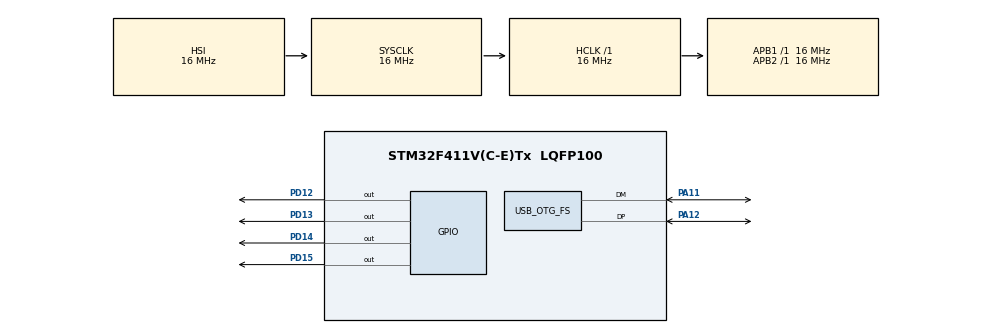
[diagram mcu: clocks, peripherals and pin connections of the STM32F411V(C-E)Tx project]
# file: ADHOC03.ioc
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FREERTOS.Tasks01=defaultTask,0,128,StartDefaultTask,Default,NULL
Mcu.Family=STM32F4
Mcu.Name=STM32F411V(C-E)Tx
Mcu.Package=LQFP100
NVIC.OTG_FS_IRQn=true\:5\:0\:false\:false\:true\:true\:false
NVIC.PriorityGroup=NVIC_PRIORITYGROUP_4
NVIC.TIM1_UP_TIM10_IRQn=true\:0\:0\:false\:false\:true\:false\:false
NVIC.TimeBase=TIM1_UP_TIM10_IRQn
NVIC.TimeBaseIP=TIM10
PA11.Mode=Device_Only
PA11.Signal=USB_OTG_FS_DM
PA12.Mode=Device_Only
PA12.Signal=USB_OTG_FS_DP
PA13.Mode=Serial_Wire
PA13.Signal=SYS_JTMS-SWDIO
PA14.Mode=Serial_Wire
PA14.Signal=SYS_JTCK-SWCLK
PC14-OSC32_IN.Mode=LSE-External-Clock-Source
PC14-OSC32_IN.Signal=RCC_OSC32_IN
PC15-OSC32_OUT.Mode=LSE-External-Clock-Source
PC15-OSC32_OUT.Signal=RCC_OSC32_OUT
PD12.Signal=GPIO_Output
PD13.Signal=GPIO_Output
PD14.Signal=GPIO_Output
PD15.Signal=GPIO_Output
PH0\ -\ OSC_IN.Mode=HSE-External-Oscillator
PH0\ -\ OSC_IN.Signal=RCC_OSC_IN
PH1\ -\ OSC_OUT.Mode=HSE-External-Oscillator
PH1\ -\ OSC_OUT.Signal=RCC_OSC_OUT
ProjectManager.HeapSize=0x200
ProjectManager.StackSize=0x400
ProjectManager.TargetToolchain=TrueSTUDIO
RCC.48MHZClocksFreq_Value=48000000
RCC.AHBFreq_Value=16000000
RCC.APB1Freq_Value=16000000
RCC.APB2Freq_Value=16000000
RCC.CortexFreq_Value=16000000
RCC.HSE_VALUE=8000000
RCC.HSI_VALUE=16000000
RCC.LSE_VALUE=32768
RCC.PLLM=4
RCC.PLLN=72
RCC.PLLQ=3
RCC.SYSCLKFreq_VALUE=16000000
RCC.VCOOutputFreq_Value=144000000
USB_DEVICE.CLASS_NAME_FS=CDC
USB_DEVICE.VirtualMode=Cdc
USB_DEVICE.VirtualModeFS=Cdc_FS
USB_OTG_FS.VirtualMode=Device_Only
VP_FREERTOS_VS_ENABLE.Mode=Enabled
VP_SYS_VS_tim10.Mode=TIM10
VP_USB_DEVICE_VS_USB_DEVICE_CDC_FS.Mode=CDC_FS
board=custom

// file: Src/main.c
/**
  ******************************************************************************
  * @file           : main.c
  * @brief          : Main program body
  ******************************************************************************
  * This notice applies to any and all portions of this file
  * that are not between comment pairs USER CODE BEGIN and
  * USER CODE END. Other portions of this file, whether
  * inserted by the user or by software development tools
  * are owned by their respective copyright owners.
  *
  * Copyright (c) 2018 STMicroelectronics International N.V.
  * All rights reserved.
  *
  * Redistribution and use in source and binary forms, with or without
  * modification, are permitted, provided that the following conditions are met:
  *
  * 1. Redistribution of source code must retain the above copyright notice,
  *    this list of conditions and the following disclaimer.
  * 2. Redistributions in binary form must reproduce the above copyright notice,
  *    this list of conditions and the following disclaimer in the documentation
  *    and/or other materials provided with the distribution.
  * 3. Neither the name of STMicroelectronics nor the names of other
  *    contributors to this software may be used to endorse or promote products
  *    derived from this software without specific written permission.
  * 4. This software, including modifications and/or derivative works of this
  *    software, must execute solely and exclusively on microcontroller or
  *    microprocessor devices manufactured by or for STMicroelectronics.
  * 5. Redistribution and use of this software other than as permitted under
  *    this license is void and will automatically terminate your rights under
  *    this license.
  *
  * THIS SOFTWARE IS PROVIDED BY STMICROELECTRONICS AND CONTRIBUTORS "AS IS"
  * AND ANY EXPRESS, IMPLIED OR STATUTORY WARRANTIES, INCLUDING, BUT NOT
  * LIMITED TO, THE IMPLIED WARRANTIES OF MERCHANTABILITY, FITNESS FOR A
  * PARTICULAR PURPOSE AND NON-INFRINGEMENT OF THIRD PARTY INTELLECTUAL PROPERTY
  * RIGHTS ARE DISCLAIMED TO THE FULLEST EXTENT PERMITTED BY LAW. IN NO EVENT
  * SHALL STMICROELECTRONICS OR CONTRIBUTORS BE LIABLE FOR ANY DIRECT, INDIRECT,
  * INCIDENTAL, SPECIAL, EXEMPLARY, OR CONSEQUENTIAL DAMAGES (INCLUDING, BUT NOT
  * LIMITED TO, PROCUREMENT OF SUBSTITUTE GOODS OR SERVICES; LOSS OF USE, DATA,
  * OR PROFITS; OR BUSINESS INTERRUPTION) HOWEVER CAUSED AND ON ANY THEORY OF
  * LIABILITY, WHETHER IN CONTRACT, STRICT LIABILITY, OR TORT (INCLUDING
  * NEGLIGENCE OR OTHERWISE) ARISING IN ANY WAY OUT OF THE USE OF THIS SOFTWARE,
  * EVEN IF ADVISED OF THE POSSIBILITY OF SUCH DAMAGE.
  *
  ******************************************************************************
  */
#include "main.h"
#include "stm32f4xx_hal.h"
#include "cmsis_os.h"
#include "usb_device.h"

/* USER CODE BEGIN Includes */
#include "FreeRTOS_IP.h"
#include "FreeRTOS_Sockets.h"
/* USER CODE END Includes */

osThreadId defaultTaskHandle;

/* USER CODE BEGIN PV */
/* Private variables ---------------------------------------------------------*/
#define mainHOST_NAME					"RTOSDemo"
#define mainDEVICE_NICK_NAME			"stm32"
#define NUM_LEDS	4

static TaskHandle_t xServerWorkTaskHandle = NULL;
static void prvServerWorkTask( void *pvParameters );
static void prvServerConnectionInstance( void *pvParameters );

#define FREERTOS_NO_SOCKET		NULL

#define ipconfigHTTP_TX_BUFSIZE				( 3 * ipconfigTCP_MSS )
#define ipconfigHTTP_TX_WINSIZE				( 2 )
#define ipconfigHTTP_RX_BUFSIZE				( 4 * ipconfigTCP_MSS )
#define ipconfigHTTP_RX_WINSIZE				( 4 )

/* FTP and HTTP servers execute in the TCP server work task. */
#define mainTCP_SERVER_TASK_PRIORITY	( tskIDLE_PRIORITY + 3 )
#define	mainTCP_SERVER_STACK_SIZE		( configMINIMAL_STACK_SIZE * 8 )

#ifndef configIPINIT_TASK_STACK_SIZE
	#define configIPINIT_TASK_STACK_SIZE ( 4 * configMINIMAL_STACK_SIZE )
#endif
/* The MAC address array is not declared const as the MAC address will
normally be read from an EEPROM and not hard coded (in real deployed
applications).*/
static uint8_t ucMACAddress[ 6 ] = { 0x00, 0x11, 0x22, 0x33, 0x44, 0x55 };

static const uint8_t ucIPAddress[ 4 ] = { 10, 10, 10, 200 };
static const uint8_t ucNetMask[ 4 ] = { 255, 0, 0, 0 };
static const uint8_t ucGatewayAddress[ 4 ] = { 10, 10, 10, 1 };

/* The following is the address of an OpenDNS server. */
static const uint8_t ucDNSServerAddress[ 4 ] = { 208, 67, 222, 222 };
/* USER CODE END PV */

void SystemClock_Config(void);
static void MX_GPIO_Init(void);
void StartDefaultTask(void const * argument);

/* USER CODE BEGIN PFP */
/* Private function prototypes -----------------------------------------------*/

/* USER CODE END PFP */

int main(void)
{

  /* MCU Configuration----------------------------------------------------------*/

  /* Reset of all peripherals, Initializes the Flash interface and the Systick. */
  HAL_Init();

  /* Configure the system clock */
  SystemClock_Config();

  /* Initialize all configured peripherals */
  MX_GPIO_Init();
  /* USER CODE BEGIN 2 */
	FreeRTOS_IPInit( ucIPAddress,
				   ucNetMask,
				   ucGatewayAddress,
				   ucDNSServerAddress,
				   ucMACAddress );
  /* USER CODE END 2 */

  /* Create the thread(s) */
  /* definition and creation of defaultTask */
  osThreadDef(defaultTask, StartDefaultTask, osPriorityNormal, 0, 128);
  defaultTaskHandle = osThreadCreate(osThread(defaultTask), NULL);

  /* Start scheduler */
  osKernelStart();

  /* We should never get here as control is now taken by the scheduler */

  /* Infinite loop */
  while (1)
  {

  }

}

void SystemClock_Config(void)
{

  RCC_OscInitTypeDef RCC_OscInitStruct;
  RCC_ClkInitTypeDef RCC_ClkInitStruct;

    /**Configure the main internal regulator output voltage
    */
  __HAL_RCC_PWR_CLK_ENABLE();

  __HAL_PWR_VOLTAGESCALING_CONFIG(PWR_REGULATOR_VOLTAGE_SCALE1);

    /**Initializes the CPU, AHB and APB busses clocks
    */
  RCC_OscInitStruct.OscillatorType = RCC_OSCILLATORTYPE_HSI|RCC_OSCILLATORTYPE_HSE;
  RCC_OscInitStruct.HSEState = RCC_HSE_ON;
  RCC_OscInitStruct.HSIState = RCC_HSI_ON;
  RCC_OscInitStruct.HSICalibrationValue = 16;
  RCC_OscInitStruct.PLL.PLLState = RCC_PLL_ON;
  RCC_OscInitStruct.PLL.PLLSource = RCC_PLLSOURCE_HSE;
  RCC_OscInitStruct.PLL.PLLM = 4;
  RCC_OscInitStruct.PLL.PLLN = 72;
  RCC_OscInitStruct.PLL.PLLP = RCC_PLLP_DIV2;
  RCC_OscInitStruct.PLL.PLLQ = 3;
  if (HAL_RCC_OscConfig(&RCC_OscInitStruct) != HAL_OK)
  {
    _Error_Handler(__FILE__, __LINE__);
  }

    /**Initializes the CPU, AHB and APB busses clocks
    */
  RCC_ClkInitStruct.ClockType = RCC_CLOCKTYPE_HCLK|RCC_CLOCKTYPE_SYSCLK
                              |RCC_CLOCKTYPE_PCLK1|RCC_CLOCKTYPE_PCLK2;
  RCC_ClkInitStruct.SYSCLKSource = RCC_SYSCLKSOURCE_HSI;
  RCC_ClkInitStruct.AHBCLKDivider = RCC_SYSCLK_DIV1;
  RCC_ClkInitStruct.APB1CLKDivider = RCC_HCLK_DIV1;
  RCC_ClkInitStruct.APB2CLKDivider = RCC_HCLK_DIV1;

  if (HAL_RCC_ClockConfig(&RCC_ClkInitStruct, FLASH_LATENCY_0) != HAL_OK)
  {
    _Error_Handler(__FILE__, __LINE__);
  }

    /**Configure the Systick interrupt time
    */
  HAL_SYSTICK_Config(HAL_RCC_GetHCLKFreq()/1000);

    /**Configure the Systick
    */
  HAL_SYSTICK_CLKSourceConfig(SYSTICK_CLKSOURCE_HCLK);

  /* SysTick_IRQn interrupt configuration */
  HAL_NVIC_SetPriority(SysTick_IRQn, 15, 0);
}

/** Configure pins as
        * Analog
        * Input
        * Output
        * EVENT_OUT
        * EXTI
*/
static void MX_GPIO_Init(void)
{

  GPIO_InitTypeDef GPIO_InitStruct;

  /* GPIO Ports Clock Enable */
  __HAL_RCC_GPIOC_CLK_ENABLE();
  __HAL_RCC_GPIOH_CLK_ENABLE();
  __HAL_RCC_GPIOD_CLK_ENABLE();
  __HAL_RCC_GPIOA_CLK_ENABLE();

  /*Configure GPIO pin Output Level */
  HAL_GPIO_WritePin(GPIOD, GPIO_PIN_12|GPIO_PIN_13|GPIO_PIN_14|GPIO_PIN_15, GPIO_PIN_RESET);

  /*Configure GPIO pins : PD12 PD13 PD14 PD15 */
  GPIO_InitStruct.Pin = GPIO_PIN_12|GPIO_PIN_13|GPIO_PIN_14|GPIO_PIN_15;
  GPIO_InitStruct.Mode = GPIO_MODE_OUTPUT_PP;
  GPIO_InitStruct.Pull = GPIO_NOPULL;
  GPIO_InitStruct.Speed = GPIO_SPEED_FREQ_LOW;
  HAL_GPIO_Init(GPIOD, &GPIO_InitStruct);

}

/* USER CODE BEGIN 4 */

void vApplicationIPNetworkEventHook( eIPCallbackEvent_t eNetworkEvent )
{
static BaseType_t xTasksAlreadyCreated = pdFALSE;

    /* Both eNetworkUp and eNetworkDown events can be processed here. */
    if( eNetworkEvent == eNetworkUp )
    {
        /* Create the tasks that use the TCP/IP stack if they have not already
        been created. */
        if( xTasksAlreadyCreated == pdFALSE )
        {
            /*
             * For convenience, tasks that use FreeRTOS+TCP can be created here
             * to ensure they are not created before the network is usable.
             */
        	xTaskCreate( prvServerWorkTask, "SvrWork", mainTCP_SERVER_STACK_SIZE, NULL, mainTCP_SERVER_TASK_PRIORITY, &xServerWorkTaskHandle );

            xTasksAlreadyCreated = pdTRUE;
        }
    }
}
#define BUFFER_SIZE 1500

static void prvServerWorkTask( void *pvParameters )
{
	BaseType_t xNoTimeout = 0;

	/* The priority of this task can be raised now the disk has been
	initialised. */
//	vTaskPrioritySet( NULL, mainTCP_SERVER_TASK_PRIORITY );

	/* Wait until the network is up before creating the servers.  The
	notification is given from the network event hook. */
	//ulTaskNotifyTake( pdTRUE, portMAX_DELAY );

	struct freertos_sockaddr xClient, xBindAddress;

	Socket_t xSocket, xConnectedSocket;

	xSocket = FreeRTOS_socket( FREERTOS_AF_INET, FREERTOS_SOCK_STREAM, FREERTOS_IPPROTO_TCP );

	if( xSocket != FREERTOS_INVALID_SOCKET  )
	{
		xBindAddress.sin_addr = FreeRTOS_GetIPAddress(); // Single NIC, currently not used
		xBindAddress.sin_port = FreeRTOS_htons( 80 );
		socklen_t xAddressLength = sizeof( xBindAddress );
		FreeRTOS_bind( xSocket, &xBindAddress, xAddressLength );
		FreeRTOS_listen( xSocket, 12 );

		FreeRTOS_setsockopt( xSocket, 0, FREERTOS_SO_RCVTIMEO, ( void * ) &xNoTimeout, sizeof( BaseType_t ) );
		FreeRTOS_setsockopt( xSocket, 0, FREERTOS_SO_SNDTIMEO, ( void * ) &xNoTimeout, sizeof( BaseType_t ) );

		WinProperties_t xWinProps;

		memset( &xWinProps, '\0', sizeof( xWinProps ) );
		/* The parent socket itself won't get connected.  The properties below
		will be inherited by each new child socket. */
		xWinProps.lTxBufSize = ipconfigHTTP_TX_BUFSIZE;
		xWinProps.lTxWinSize = ipconfigHTTP_TX_WINSIZE;
		xWinProps.lRxBufSize = ipconfigHTTP_RX_BUFSIZE;
		xWinProps.lRxWinSize = ipconfigHTTP_RX_WINSIZE;

		/* Set the window and buffer sizes. */
		FreeRTOS_setsockopt( xSocket, 0, FREERTOS_SO_WIN_PROPERTIES, ( void * ) &xWinProps,	sizeof( xWinProps ) );
		for( ;; )
		{
	        osDelay(250);
			/* Wait for incoming connections. */
			socklen_t xClientLength = sizeof( xClient );
			xConnectedSocket = FreeRTOS_accept( xSocket, &xClient, &xClientLength );
			//configASSERT( xConnectedSocket != FREERTOS_INVALID_SOCKET );
			if((xConnectedSocket != FREERTOS_NO_SOCKET)&&(xConnectedSocket != FREERTOS_INVALID_SOCKET)){
				static char cRxedData[ BUFFER_SIZE ];
				static char cTxedData[ BUFFER_SIZE ];
				BaseType_t lBytesReceived;
				lBytesReceived = FreeRTOS_recv( xConnectedSocket, &cRxedData, BUFFER_SIZE, 0 );
				//			static char cTxedData[ BUFFER_SIZE ];
				/* Spawn a RTOS task to handle the connection. */
				//xTaskCreate( prvServerConnectionInstance, "EchoServer", configMINIMAL_STACK_SIZE*2, ( void * ) xConnectedSocket, tskIDLE_PRIORITY,  NULL );
				char message1[] = "HTTP/1.1 200 OK\r\nConnection: close\r\n" \
						   "Content-Type: text/html; charset=UTF-8\r\n\r\n" \
						   "<html><body>Hello!<br>" \
						   "<form method='POST' action='led'>" \
						   "GREEN LED=<input type='text' name='GREEN' value='0' /><br/>" \
						   "ORANGE LED=<input type='text' name='ORANGE' value='0' /><br/>" \
						   "RED LED=<input type='text' name='RED' value='0' /><br/>" \
						   "BLUE LED=<input type='text' name='BLUE' value='0' /><br />" \
						   "<input type='submit' />" \
						   "</form>" \
						   "</body></html>";
				char *httpMethods[4] = {"GET", "POST", "PUT", "DELETE"};
				int8_t state, c;
				int i;
				c = 0;
				uint16_t LEDs[NUM_LEDS] = {GPIO_PIN_12, GPIO_PIN_13, GPIO_PIN_14, GPIO_PIN_15};
				if(memcmp(cRxedData, httpMethods[1], sizeof(httpMethods[1][0]))==0){
					for(i=0; i<4; i++) {
						char *LED_str[NUM_LEDS] = {"GREEN=", "ORANGE=", "RED=", "BLUE="};
						char *str;
						str = strstr(cRxedData, LED_str[i]);
						if(str == NULL) {
							/* Not found the corresponding LED color string. */
							continue;
						}
						c += 1;
						state = atoi(str + strlen(LED_str[i]));
						/* Set the state of the corresponding LED. */
						if(state == 1){
							HAL_GPIO_WritePin(GPIOD, LEDs[i], GPIO_PIN_SET);
						}
						else if(state == 0){
							HAL_GPIO_WritePin(GPIOD, LEDs[i], GPIO_PIN_RESET);
						}
					}
				}
	    		memcpy(cTxedData, message1, sizeof(message1));
				FreeRTOS_send( xConnectedSocket, &message1, sizeof(message1),0 );
				FreeRTOS_closesocket( xConnectedSocket );
			}
		}
	}
}

const char *pcApplicationHostnameHook( void )
{
	/* Assign the name "rtosdemo" to this network node.  This function will be
	called during the DHCP: the machine will be registered with an IP address
	plus this name. */
	return mainHOST_NAME;
}

BaseType_t xApplicationDNSQueryHook( const char *pcName )
{
BaseType_t xReturn;

	/* Determine if a name lookup is for this node.  Two names are given
	to this node: that returned by pcApplicationHostnameHook() and that set
	by mainDEVICE_NICK_NAME. */
	if( strcasecmp( pcName, pcApplicationHostnameHook() ) == 0 )
	{
		xReturn = pdPASS;
	}
	else if( strcasecmp( pcName, mainDEVICE_NICK_NAME ) == 0 )
	{
		xReturn = pdPASS;
	}
	else
	{
		xReturn = pdFAIL;
	}

	return xReturn;
}

void vApplicationMallocFailedHook( void )
{
volatile uint32_t ulMallocFailures = 0;

	/* Called if a call to pvPortMalloc() fails because there is insufficient
	free memory available in the FreeRTOS heap.  pvPortMalloc() is called
	internally by FreeRTOS API functions that create tasks, queues, software
	timers, and semaphores.  The size of the FreeRTOS heap is set by the
	configTOTAL_HEAP_SIZE configuration constant in FreeRTOSConfig.h. */
	ulMallocFailures++;
	taskDISABLE_INTERRUPTS();
	for( ;; );
}

void vApplicationStackOverflowHook( TaskHandle_t pxTask, char *pcTaskName )
{
	( void ) pcTaskName;
	( void ) pxTask;

	/* Run time stack overflow checking is performed if
	configCHECK_FOR_STACK_OVERFLOW is defined to 1 or 2.  This hook
	function is called if a stack overflow is detected. */
	taskDISABLE_INTERRUPTS();
	for( ;; );
}
/* USER CODE END 4 */

/* StartDefaultTask function */
void StartDefaultTask(void const * argument)
{
  /* init code for USB_DEVICE */
  MX_USB_DEVICE_Init();

  /* USER CODE BEGIN 5 */
  /* Infinite loop */
  for(;;)
  {
    osDelay(1000);
  }
  /* USER CODE END 5 */
}

void HAL_TIM_PeriodElapsedCallback(TIM_HandleTypeDef *htim)
{
  if (htim->Instance == TIM10) {
    HAL_IncTick();
  }
}

void _Error_Handler(char *file, int line)
{
  while(1)
  {
  }
}

/************************ (C) COPYRIGHT STMicroelectronics *****END OF FILE****/
